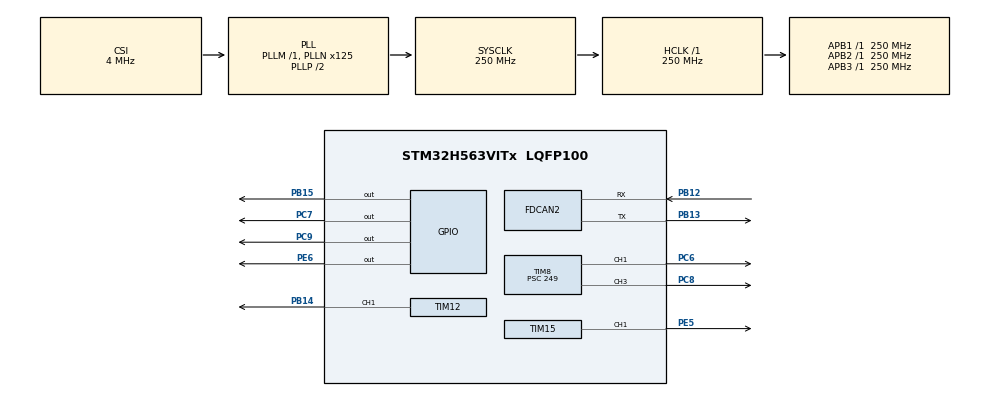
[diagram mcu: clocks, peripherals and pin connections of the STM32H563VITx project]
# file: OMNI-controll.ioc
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BOOTPATH.BootPathName=LEGACY
BOOTPATH.UserSelectedBootPath=LEGACY
CORTEX_M33_NS.Number-Cortex_Memory_Protection_Unit_Region0_OTP_RO_AREAS_Settings=MPU_REGION_NUMBER0
CORTEX_M33_NS.default_mode_Activation=1
CORTEX_M33_NS.userName=CORTEX_M33
FDCAN2.CalculateBaudRateNominal=1000000
FDCAN2.CalculateTimeBitNominal=1000
FDCAN2.CalculateTimeQuantumNominal=40.0
FDCAN2.DataTimeSeg1=20
FDCAN2.DataTimeSeg2=4
FDCAN2.FrameFormat=FDCAN_FRAME_FD_NO_BRS
FDCAN2.NominalPrescaler=10
FDCAN2.NominalTimeSeg1=20
FDCAN2.NominalTimeSeg2=4
FDCAN2.StdFiltersNbr=1
Mcu.Family=STM32H5
Mcu.Name=STM32H563VITx
Mcu.Package=LQFP100
NVIC.FDCAN2_IT0_IRQn=true\:0\:0\:false\:false\:true\:true\:true\:true
NVIC.FDCAN2_IT1_IRQn=true\:0\:0\:false\:false\:true\:true\:true\:true
NVIC.PriorityGroup=NVIC_PRIORITYGROUP_4
PB12.Mode=FDCAN_Activate
PB12.Signal=FDCAN2_RX
PB13.Mode=FDCAN_Activate
PB13.Signal=FDCAN2_TX
PB14.Signal=S_TIM12_CH1
PB15.Signal=GPIO_Output
PC6.Signal=S_TIM8_CH1
PC7.Signal=GPIO_Output
PC8.Signal=S_TIM8_CH3
PC9.Signal=GPIO_Output
PE5.Signal=S_TIM15_CH1
PE6.Signal=GPIO_Output
ProjectManager.HeapSize=0x200
ProjectManager.StackSize=0x400
ProjectManager.TargetToolchain=STM32CubeIDE
RCC.ADCFreq_Value=250000000
RCC.AHBFreq_Value=250000000
RCC.APB1Freq_Value=250000000
RCC.APB1TimFreq_Value=250000000
RCC.APB2Freq_Value=250000000
RCC.APB2TimFreq_Value=250000000
RCC.APB3Freq_Value=250000000
RCC.CSI_VALUE=4000000
RCC.CortexFreq_Value=250000000
RCC.EPOD_VALUE=4000000
RCC.FDCANClockSelection=RCC_FDCANCLKSOURCE_PLL1Q
RCC.HCLKFreq_Value=250000000
RCC.HSE_VALUE=25000000
RCC.HSI48_VALUE=48000000
RCC.HSI_VALUE=64000000
RCC.LSE_VALUE=32768
RCC.LSIRC_VALUE=32000
RCC.PLL2FRACN=0
RCC.PLL3FRACN=0
RCC.PLLFRACN=0
RCC.PLLN=125
RCC.SYSCLKFreq_VALUE=250000000
RCC.SYSCLKSource=RCC_SYSCLKSOURCE_PLLCLK
RCC.USBFreq_Value=48000000
RCC.VCOOutputFreq_Value=500000000
SH.S_TIM12_CH1.0=TIM12_CH1,PWM Generation1 CH1
SH.S_TIM15_CH1.0=TIM15_CH1,PWM Generation1 CH1
SH.S_TIM8_CH1.0=TIM8_CH1,PWM Generation1 CH1
SH.S_TIM8_CH3.0=TIM8_CH3,PWM Generation3 CH3
TIM12.Channel-PWM\ Generation1\ CH1=TIM_CHANNEL_1
TIM12.PeriodNoDither=999
TIM12.Prescaler=249
TIM15.Channel-PWM\ Generation1\ CH1=TIM_CHANNEL_1
TIM15.PeriodNoDither=999
TIM15.Prescaler=249
TIM8.Channel-PWM\ Generation1\ CH1=TIM_CHANNEL_1
TIM8.Channel-PWM\ Generation3\ CH3=TIM_CHANNEL_3
TIM8.PeriodNoDither=999
TIM8.Prescaler=249
VP_BOOTPATH_VS_BOOTPATH.Mode=BP_Activate
VP_CORTEX_M33_NS_VS_Hclk.Mode=Hclk_Mode
VP_ICACHE_VS_ICACHE.Mode=DirectMappedCache
VP_MEMORYMAP_VS_MEMORYMAP.Mode=CurAppReg
VP_PWR_VS_LPOM.Mode=PowerOptimisation
VP_PWR_VS_SECSignals.Mode=Security/Privilege
board=custom

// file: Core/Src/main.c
/* USER CODE BEGIN Header */
/**
 ******************************************************************************
 * @file           : main.c
 * @brief          : Main program body
 ******************************************************************************
 * @attention
 *
 * Copyright (c) 2026 STMicroelectronics.
 * All rights reserved.
 *
 * This software is licensed under terms that can be found in the LICENSE file
 * in the root directory of this software component.
 * If no LICENSE file comes with this software, it is provided AS-IS.
 *
 ******************************************************************************
 */
/* USER CODE END Header */
#include "main.h"

/* USER CODE BEGIN Includes */
#include <stdlib.h>
#include <string.h>
#include <memory.h>
/* USER CODE END Includes */

/* USER CODE BEGIN PTD */
typedef struct {
	uint8_t cross :1;
	uint8_t circle :1;
	uint8_t triangle :1;
	uint8_t square :1;

	uint8_t l1 :1;
	uint8_t r1 :1;

	uint8_t share :1;
	uint8_t options :1;
	uint8_t ps :1;
	uint8_t :1; //dummy

	uint8_t l_stick_button :1;
	uint8_t r_stick_button :1;

	uint8_t up :1;
	uint8_t down :1;
	uint8_t left :1;
	uint8_t right :1;

	int8_t l_stick_x;
	int8_t l_stick_y;

	int8_t r_stick_x;
	int8_t r_stick_y;

	int8_t l2;
	int8_t r2;
} DS4_Controller_Typedef;
/* USER CODE END PTD */

FDCAN_HandleTypeDef hfdcan2;

TIM_HandleTypeDef htim8;
TIM_HandleTypeDef htim12;
TIM_HandleTypeDef htim15;

/* USER CODE BEGIN PV */
FDCAN_RxHeaderTypeDef RxHeader;

// DualShock用構造体
DS4_Controller_Typedef DS4;

// 最後に通信を受け取った時刻
time_t last_received;
/* USER CODE END PV */

void SystemClock_Config(void);
static void MPU_Config(void);
static void MX_GPIO_Init(void);
static void MX_ICACHE_Init(void);
static void MX_TIM8_Init(void);
static void MX_TIM12_Init(void);
static void MX_TIM15_Init(void);
static void MX_FDCAN2_Init(void);
/* USER CODE BEGIN PFP */
void HAL_FDCAN_RxFifo0Callback(FDCAN_HandleTypeDef *hfdcan, uint32_t RxFifo0ITs) {
	/*if(hfdcan == &hfdcan1) {
	 // TODO: FDCAN1の受信
	 } else */if (hfdcan == &hfdcan2) {
		if ((RxFifo0ITs & FDCAN_IT_RX_FIFO0_NEW_MESSAGE) != RESET) {
			// Retrieve Rx messages from RX FIFO0
			last_received = time(NULL);
			if (HAL_FDCAN_GetRxMessage(hfdcan, FDCAN_RX_FIFO0, &RxHeader,
					(uint8_t*) &DS4) != HAL_OK) {
				Error_Handler();
			}
		}
	} /* else {
	 // TODO: 例外処理
	 }*/
}
/* USER CODE END PFP */

/* USER CODE BEGIN 0 */
// コントローラーのマージン範囲
#define CONTROLLER_MERGIN 10
// マージンを取るマクロ
#define GET_MERGIN(input) ((abs((input)) < CONTROLLER_MERGIN) ? 0 : (input))
// clamp macro
#define CLAMP(value, left, right) \
	if((value) < (left)) value = left; \
else if((right < (value))) value = right;

#define OMEGA_1_GAIN 1.3
#define OMEGA_2_GAIN 1.2
#define OMEGA_3_GAIN 0.8
#define OMEGA_4_GAIN 1.25
uint16_t DUTY_MAX = 800;
/* USER CODE END 0 */

int main(void) {

	/* MCU Configuration--------------------------------------------------------*/

	/* MPU Configuration--------------------------------------------------------*/
	MPU_Config();

	/* Reset of all peripherals, Initializes the Flash interface and the Systick. */
	HAL_Init();

	/* Configure the system clock */
	SystemClock_Config();

	/* Initialize all configured peripherals */
	MX_GPIO_Init();
	MX_ICACHE_Init();
	MX_TIM8_Init();
	MX_TIM12_Init();
	MX_TIM15_Init();
	MX_FDCAN2_Init();
	/* USER CODE BEGIN 2 */
	// のこのこ
	HAL_TIM_PWM_Start(&htim8, TIM_CHANNEL_1);
	HAL_TIM_PWM_Start(&htim8, TIM_CHANNEL_3);
	HAL_TIM_PWM_Start(&htim12, TIM_CHANNEL_1);
	HAL_TIM_PWM_Start(&htim15, TIM_CHANNEL_1);

	// CAN通信
	FDCAN_FilterTypeDef sFilterConfig;
	// Configure Rx filter
	sFilterConfig.IdType = FDCAN_STANDARD_ID;
	sFilterConfig.FilterIndex = 0;
	sFilterConfig.FilterType = FDCAN_FILTER_MASK;
	sFilterConfig.FilterConfig = FDCAN_FILTER_TO_RXFIFO0;
	sFilterConfig.FilterID1 = 0x000;
	sFilterConfig.FilterID2 = 0x000;
	if (HAL_FDCAN_ConfigFilter(&hfdcan2, &sFilterConfig) != HAL_OK) {
		Error_Handler();
	}
	if (HAL_FDCAN_ConfigGlobalFilter(&hfdcan2, FDCAN_REJECT, FDCAN_REJECT,
	FDCAN_REJECT_REMOTE, FDCAN_REJECT_REMOTE)) {
		Error_Handler();
	}
	// Enable Rx CallBack
	if (HAL_FDCAN_ActivateNotification(&hfdcan2, FDCAN_IT_RX_FIFO0_NEW_MESSAGE,
			0) != HAL_OK) {
		Error_Handler();
	}
	// Start the FDCAN module
	if (HAL_FDCAN_Start(&hfdcan2) != HAL_OK) {
		Error_Handler();
	}
	/* USER CODE END 2 */

	/* Infinite loop */
	/* USER CODE BEGIN WHILE */
	while (1) {
		// のこのこ
		// 一定時間通信が受け取れなかった場合に入力を0に
		if(time(NULL) - last_received > 5) {
			memset(DS4, 0, sizeof(DS4));
		}

		float r = 1.0; //半径が分かり次第いれます
		float L = 1.0; //機体の中心からホイールまでの距離が分かりしだいいれます

		// コントローラー入力のマージン（無効範囲）を取る
		int8_t r_stick_x_margined = GET_MERGIN(DS4.r_stick_x);
		int8_t r_stick_y_margined = GET_MERGIN(DS4.r_stick_y);
		int8_t l_stick_x_margined = GET_MERGIN(DS4.l_stick_x);

		float v_x = r_stick_x_margined / 128.0; //全部-1から1に圧縮してます
		float v_y = r_stick_y_margined / 128.0;
		float omega = l_stick_x_margined / 128.0;
		float omega_1 = (-0.707 * v_x + 0.707 * v_y + L * omega) / (1.414 + L);
		float omega_2 = (0.707 * v_x + 0.707 * v_y + L * omega) / (1.414 + L);
		float omega_3 = (0.707 * v_x - 0.707 * v_y + L * omega) / (1.414 + L);
		float omega_4 = (-0.707 * v_x - 0.707 * v_y + L * omega) / (1.414 + L);
		omega_1 *= OMEGA_1_GAIN;
		omega_2 *= OMEGA_2_GAIN;
		omega_3 *= OMEGA_3_GAIN;
		omega_4 *= OMEGA_4_GAIN;

		CLAMP(omega_1, -1, 1);
		CLAMP(omega_2, -1, 1);
		CLAMP(omega_3, -1, 1);
		CLAMP(omega_4, -1, 1);
		if (omega_1 >= 0 && omega_1 <= 1) {
			__HAL_TIM_SET_COMPARE(&htim8, TIM_CHANNEL_1, DUTY_MAX * omega_1);
			HAL_GPIO_WritePin(GPIOC, GPIO_PIN_7, GPIO_PIN_SET);
		} else if (omega_1 < 0 && omega_1 >= -1) {
			__HAL_TIM_SET_COMPARE(&htim8, TIM_CHANNEL_1, DUTY_MAX * -omega_1);
			HAL_GPIO_WritePin(GPIOC, GPIO_PIN_7, GPIO_PIN_RESET);
		} else {

		}
		if (omega_2 >= 0 && omega_2 <= 1) {
			__HAL_TIM_SET_COMPARE(&htim8, TIM_CHANNEL_3, DUTY_MAX * omega_2);
			HAL_GPIO_WritePin(GPIOC, GPIO_PIN_9, GPIO_PIN_SET);
		} else if (omega_2 < 0 && omega_2 >= -1) {
			__HAL_TIM_SET_COMPARE(&htim8, TIM_CHANNEL_3, DUTY_MAX * -omega_2);
			HAL_GPIO_WritePin(GPIOC, GPIO_PIN_9, GPIO_PIN_RESET);
		} else {

		}
		if (omega_3 >= 0 && omega_3 <= 1) {
			__HAL_TIM_SET_COMPARE(&htim12, TIM_CHANNEL_1, DUTY_MAX * omega_3);
			HAL_GPIO_WritePin(GPIOB, GPIO_PIN_15, GPIO_PIN_RESET);
		} else if (omega_3 < 0 && omega_3 >= -1) {
			__HAL_TIM_SET_COMPARE(&htim12, TIM_CHANNEL_1, DUTY_MAX * -omega_3);
			HAL_GPIO_WritePin(GPIOB, GPIO_PIN_15, GPIO_PIN_SET);
		} else {

		}
		if (omega_4 >= 0 && omega_4 <= 1) {
			__HAL_TIM_SET_COMPARE(&htim15, TIM_CHANNEL_1, DUTY_MAX * omega_4);
			HAL_GPIO_WritePin(GPIOE, GPIO_PIN_6, GPIO_PIN_SET);
		} else if (omega_4 < 0 && omega_4 >= -1) {
			__HAL_TIM_SET_COMPARE(&htim15, TIM_CHANNEL_1, DUTY_MAX * -omega_4);
			HAL_GPIO_WritePin(GPIOE, GPIO_PIN_6, GPIO_PIN_RESET);
		} else {

		}
		/* USER CODE END WHILE */

	}
}

void SystemClock_Config(void) {
	RCC_OscInitTypeDef RCC_OscInitStruct = { 0 };
	RCC_ClkInitTypeDef RCC_ClkInitStruct = { 0 };

	/** Configure the main internal regulator output voltage
	 */
	__HAL_PWR_VOLTAGESCALING_CONFIG(PWR_REGULATOR_VOLTAGE_SCALE0);

	while (!__HAL_PWR_GET_FLAG(PWR_FLAG_VOSRDY)) {
	}

	/** Initializes the RCC Oscillators according to the specified parameters
	 * in the RCC_OscInitTypeDef structure.
	 */
	RCC_OscInitStruct.OscillatorType = RCC_OSCILLATORTYPE_CSI;
	RCC_OscInitStruct.CSIState = RCC_CSI_ON;
	RCC_OscInitStruct.CSICalibrationValue = RCC_CSICALIBRATION_DEFAULT;
	RCC_OscInitStruct.PLL.PLLState = RCC_PLL_ON;
	RCC_OscInitStruct.PLL.PLLSource = RCC_PLL1_SOURCE_CSI;
	RCC_OscInitStruct.PLL.PLLM = 1;
	RCC_OscInitStruct.PLL.PLLN = 125;
	RCC_OscInitStruct.PLL.PLLP = 2;
	RCC_OscInitStruct.PLL.PLLQ = 2;
	RCC_OscInitStruct.PLL.PLLR = 2;
	RCC_OscInitStruct.PLL.PLLRGE = RCC_PLL1_VCIRANGE_2;
	RCC_OscInitStruct.PLL.PLLVCOSEL = RCC_PLL1_VCORANGE_WIDE;
	RCC_OscInitStruct.PLL.PLLFRACN = 0;
	if (HAL_RCC_OscConfig(&RCC_OscInitStruct) != HAL_OK) {
		Error_Handler();
	}

	/** Initializes the CPU, AHB and APB buses clocks
	 */
	RCC_ClkInitStruct.ClockType = RCC_CLOCKTYPE_HCLK | RCC_CLOCKTYPE_SYSCLK
			| RCC_CLOCKTYPE_PCLK1 | RCC_CLOCKTYPE_PCLK2 | RCC_CLOCKTYPE_PCLK3;
	RCC_ClkInitStruct.SYSCLKSource = RCC_SYSCLKSOURCE_PLLCLK;
	RCC_ClkInitStruct.AHBCLKDivider = RCC_SYSCLK_DIV1;
	RCC_ClkInitStruct.APB1CLKDivider = RCC_HCLK_DIV1;
	RCC_ClkInitStruct.APB2CLKDivider = RCC_HCLK_DIV1;
	RCC_ClkInitStruct.APB3CLKDivider = RCC_HCLK_DIV1;

	if (HAL_RCC_ClockConfig(&RCC_ClkInitStruct, FLASH_LATENCY_5) != HAL_OK) {
		Error_Handler();
	}

	/** Configure the programming delay
	 */
	__HAL_FLASH_SET_PROGRAM_DELAY(FLASH_PROGRAMMING_DELAY_2);
}

static void MX_FDCAN2_Init(void) {

	hfdcan2.Instance = FDCAN2;
	hfdcan2.Init.ClockDivider = FDCAN_CLOCK_DIV1;
	hfdcan2.Init.FrameFormat = FDCAN_FRAME_FD_NO_BRS;
	hfdcan2.Init.Mode = FDCAN_MODE_NORMAL;
	hfdcan2.Init.AutoRetransmission = DISABLE;
	hfdcan2.Init.TransmitPause = DISABLE;
	hfdcan2.Init.ProtocolException = DISABLE;
	hfdcan2.Init.NominalPrescaler = 10;
	hfdcan2.Init.NominalSyncJumpWidth = 1;
	hfdcan2.Init.NominalTimeSeg1 = 20;
	hfdcan2.Init.NominalTimeSeg2 = 4;
	hfdcan2.Init.DataPrescaler = 1;
	hfdcan2.Init.DataSyncJumpWidth = 1;
	hfdcan2.Init.DataTimeSeg1 = 20;
	hfdcan2.Init.DataTimeSeg2 = 4;
	hfdcan2.Init.StdFiltersNbr = 1;
	hfdcan2.Init.ExtFiltersNbr = 0;
	hfdcan2.Init.TxFifoQueueMode = FDCAN_TX_FIFO_OPERATION;
	if (HAL_FDCAN_Init(&hfdcan2) != HAL_OK) {
		Error_Handler();
	}

}

static void MX_ICACHE_Init(void) {

	/** Enable instruction cache in 1-way (direct mapped cache)
	 */
	if (HAL_ICACHE_ConfigAssociativityMode(ICACHE_1WAY) != HAL_OK) {
		Error_Handler();
	}
	if (HAL_ICACHE_Enable() != HAL_OK) {
		Error_Handler();
	}

}

static void MX_TIM8_Init(void) {

	TIM_MasterConfigTypeDef sMasterConfig = { 0 };
	TIM_OC_InitTypeDef sConfigOC = { 0 };
	TIM_BreakDeadTimeConfigTypeDef sBreakDeadTimeConfig = { 0 };

	htim8.Instance = TIM8;
	htim8.Init.Prescaler = 249;
	htim8.Init.CounterMode = TIM_COUNTERMODE_UP;
	htim8.Init.Period = 999;
	htim8.Init.ClockDivision = TIM_CLOCKDIVISION_DIV1;
	htim8.Init.RepetitionCounter = 0;
	htim8.Init.AutoReloadPreload = TIM_AUTORELOAD_PRELOAD_DISABLE;
	if (HAL_TIM_PWM_Init(&htim8) != HAL_OK) {
		Error_Handler();
	}
	sMasterConfig.MasterOutputTrigger = TIM_TRGO_RESET;
	sMasterConfig.MasterOutputTrigger2 = TIM_TRGO2_RESET;
	sMasterConfig.MasterSlaveMode = TIM_MASTERSLAVEMODE_DISABLE;
	if (HAL_TIMEx_MasterConfigSynchronization(&htim8, &sMasterConfig)
			!= HAL_OK) {
		Error_Handler();
	}
	sConfigOC.OCMode = TIM_OCMODE_PWM1;
	sConfigOC.Pulse = 0;
	sConfigOC.OCPolarity = TIM_OCPOLARITY_HIGH;
	sConfigOC.OCNPolarity = TIM_OCNPOLARITY_HIGH;
	sConfigOC.OCFastMode = TIM_OCFAST_DISABLE;
	sConfigOC.OCIdleState = TIM_OCIDLESTATE_RESET;
	sConfigOC.OCNIdleState = TIM_OCNIDLESTATE_RESET;
	if (HAL_TIM_PWM_ConfigChannel(&htim8, &sConfigOC, TIM_CHANNEL_1)
			!= HAL_OK) {
		Error_Handler();
	}
	if (HAL_TIM_PWM_ConfigChannel(&htim8, &sConfigOC, TIM_CHANNEL_3)
			!= HAL_OK) {
		Error_Handler();
	}
	sBreakDeadTimeConfig.OffStateRunMode = TIM_OSSR_DISABLE;
	sBreakDeadTimeConfig.OffStateIDLEMode = TIM_OSSI_DISABLE;
	sBreakDeadTimeConfig.LockLevel = TIM_LOCKLEVEL_OFF;
	sBreakDeadTimeConfig.DeadTime = 0;
	sBreakDeadTimeConfig.BreakState = TIM_BREAK_DISABLE;
	sBreakDeadTimeConfig.BreakPolarity = TIM_BREAKPOLARITY_HIGH;
	sBreakDeadTimeConfig.BreakFilter = 0;
	sBreakDeadTimeConfig.BreakAFMode = TIM_BREAK_AFMODE_INPUT;
	sBreakDeadTimeConfig.Break2State = TIM_BREAK2_DISABLE;
	sBreakDeadTimeConfig.Break2Polarity = TIM_BREAK2POLARITY_HIGH;
	sBreakDeadTimeConfig.Break2Filter = 0;
	sBreakDeadTimeConfig.Break2AFMode = TIM_BREAK_AFMODE_INPUT;
	sBreakDeadTimeConfig.AutomaticOutput = TIM_AUTOMATICOUTPUT_DISABLE;
	if (HAL_TIMEx_ConfigBreakDeadTime(&htim8, &sBreakDeadTimeConfig)
			!= HAL_OK) {
		Error_Handler();
	}
	HAL_TIM_MspPostInit(&htim8);

}

static void MX_TIM12_Init(void) {

	TIM_OC_InitTypeDef sConfigOC = { 0 };

	htim12.Instance = TIM12;
	htim12.Init.Prescaler = 249;
	htim12.Init.CounterMode = TIM_COUNTERMODE_UP;
	htim12.Init.Period = 999;
	htim12.Init.ClockDivision = TIM_CLOCKDIVISION_DIV1;
	htim12.Init.AutoReloadPreload = TIM_AUTORELOAD_PRELOAD_DISABLE;
	if (HAL_TIM_PWM_Init(&htim12) != HAL_OK) {
		Error_Handler();
	}
	sConfigOC.OCMode = TIM_OCMODE_PWM1;
	sConfigOC.Pulse = 0;
	sConfigOC.OCPolarity = TIM_OCPOLARITY_HIGH;
	sConfigOC.OCFastMode = TIM_OCFAST_DISABLE;
	if (HAL_TIM_PWM_ConfigChannel(&htim12, &sConfigOC, TIM_CHANNEL_1)
			!= HAL_OK) {
		Error_Handler();
	}
	HAL_TIM_MspPostInit(&htim12);

}

static void MX_TIM15_Init(void) {

	TIM_MasterConfigTypeDef sMasterConfig = { 0 };
	TIM_OC_InitTypeDef sConfigOC = { 0 };
	TIM_BreakDeadTimeConfigTypeDef sBreakDeadTimeConfig = { 0 };

	htim15.Instance = TIM15;
	htim15.Init.Prescaler = 249;
	htim15.Init.CounterMode = TIM_COUNTERMODE_UP;
	htim15.Init.Period = 999;
	htim15.Init.ClockDivision = TIM_CLOCKDIVISION_DIV1;
	htim15.Init.RepetitionCounter = 0;
	htim15.Init.AutoReloadPreload = TIM_AUTORELOAD_PRELOAD_DISABLE;
	if (HAL_TIM_PWM_Init(&htim15) != HAL_OK) {
		Error_Handler();
	}
	sMasterConfig.MasterOutputTrigger = TIM_TRGO_RESET;
	sMasterConfig.MasterSlaveMode = TIM_MASTERSLAVEMODE_DISABLE;
	if (HAL_TIMEx_MasterConfigSynchronization(&htim15, &sMasterConfig)
			!= HAL_OK) {
		Error_Handler();
	}
	sConfigOC.OCMode = TIM_OCMODE_PWM1;
	sConfigOC.Pulse = 0;
	sConfigOC.OCPolarity = TIM_OCPOLARITY_HIGH;
	sConfigOC.OCNPolarity = TIM_OCNPOLARITY_HIGH;
	sConfigOC.OCFastMode = TIM_OCFAST_DISABLE;
	sConfigOC.OCIdleState = TIM_OCIDLESTATE_RESET;
	sConfigOC.OCNIdleState = TIM_OCNIDLESTATE_RESET;
	if (HAL_TIM_PWM_ConfigChannel(&htim15, &sConfigOC, TIM_CHANNEL_1)
			!= HAL_OK) {
		Error_Handler();
	}
	sBreakDeadTimeConfig.OffStateRunMode = TIM_OSSR_DISABLE;
	sBreakDeadTimeConfig.OffStateIDLEMode = TIM_OSSI_DISABLE;
	sBreakDeadTimeConfig.LockLevel = TIM_LOCKLEVEL_OFF;
	sBreakDeadTimeConfig.DeadTime = 0;
	sBreakDeadTimeConfig.BreakState = TIM_BREAK_DISABLE;
	sBreakDeadTimeConfig.BreakPolarity = TIM_BREAKPOLARITY_HIGH;
	sBreakDeadTimeConfig.BreakFilter = 0;
	sBreakDeadTimeConfig.AutomaticOutput = TIM_AUTOMATICOUTPUT_DISABLE;
	if (HAL_TIMEx_ConfigBreakDeadTime(&htim15, &sBreakDeadTimeConfig)
			!= HAL_OK) {
		Error_Handler();
	}
	HAL_TIM_MspPostInit(&htim15);

}

static void MX_GPIO_Init(void) {
	GPIO_InitTypeDef GPIO_InitStruct = { 0 };

	/* GPIO Ports Clock Enable */
	__HAL_RCC_GPIOE_CLK_ENABLE();
	__HAL_RCC_GPIOB_CLK_ENABLE();
	__HAL_RCC_GPIOC_CLK_ENABLE();

	/*Configure GPIO pin Output Level */
	HAL_GPIO_WritePin(GPIOE, GPIO_PIN_6, GPIO_PIN_RESET);

	/*Configure GPIO pin Output Level */
	HAL_GPIO_WritePin(GPIOB, GPIO_PIN_15, GPIO_PIN_RESET);

	/*Configure GPIO pin Output Level */
	HAL_GPIO_WritePin(GPIOC, GPIO_PIN_7 | GPIO_PIN_9, GPIO_PIN_RESET);

	/*Configure GPIO pin : PE6 */
	GPIO_InitStruct.Pin = GPIO_PIN_6;
	GPIO_InitStruct.Mode = GPIO_MODE_OUTPUT_PP;
	GPIO_InitStruct.Pull = GPIO_NOPULL;
	GPIO_InitStruct.Speed = GPIO_SPEED_FREQ_LOW;
	HAL_GPIO_Init(GPIOE, &GPIO_InitStruct);

	/*Configure GPIO pin : PB15 */
	GPIO_InitStruct.Pin = GPIO_PIN_15;
	GPIO_InitStruct.Mode = GPIO_MODE_OUTPUT_PP;
	GPIO_InitStruct.Pull = GPIO_NOPULL;
	GPIO_InitStruct.Speed = GPIO_SPEED_FREQ_LOW;
	HAL_GPIO_Init(GPIOB, &GPIO_InitStruct);

	/*Configure GPIO pins : PC7 PC9 */
	GPIO_InitStruct.Pin = GPIO_PIN_7 | GPIO_PIN_9;
	GPIO_InitStruct.Mode = GPIO_MODE_OUTPUT_PP;
	GPIO_InitStruct.Pull = GPIO_NOPULL;
	GPIO_InitStruct.Speed = GPIO_SPEED_FREQ_LOW;
	HAL_GPIO_Init(GPIOC, &GPIO_InitStruct);

}

/* MPU Configuration */

void MPU_Config(void) {
	MPU_Region_InitTypeDef MPU_InitStruct = { 0 };
	MPU_Attributes_InitTypeDef MPU_AttributesInit = { 0 };

	/* Disables the MPU */
	HAL_MPU_Disable();

	/** Initializes and configures the Region 0 and the memory to be protected
	 */
	MPU_InitStruct.Enable = MPU_REGION_ENABLE;
	MPU_InitStruct.Number = MPU_REGION_NUMBER0;
	MPU_InitStruct.BaseAddress = 0x08FFF000;
	MPU_InitStruct.LimitAddress = 0x08FFFFFF;
	MPU_InitStruct.AttributesIndex = MPU_ATTRIBUTES_NUMBER0;
	MPU_InitStruct.AccessPermission = MPU_REGION_ALL_RO;
	MPU_InitStruct.DisableExec = MPU_INSTRUCTION_ACCESS_DISABLE;
	MPU_InitStruct.IsShareable = MPU_ACCESS_NOT_SHAREABLE;

	HAL_MPU_ConfigRegion(&MPU_InitStruct);

	/** Initializes and configures the Attribute 0 and the memory to be protected
	 */
	MPU_AttributesInit.Number = MPU_ATTRIBUTES_NUMBER0;
	MPU_AttributesInit.Attributes = INNER_OUTER(MPU_NOT_CACHEABLE);

	HAL_MPU_ConfigMemoryAttributes(&MPU_AttributesInit);
	/* Enables the MPU */
	HAL_MPU_Enable(MPU_PRIVILEGED_DEFAULT);

}

void Error_Handler(void) {
	__disable_irq();
	while (1) {
	}
}
